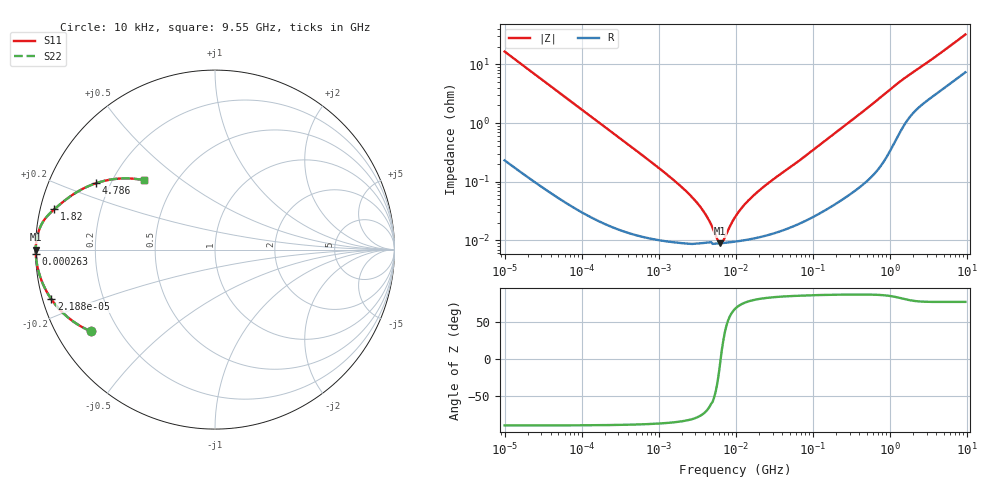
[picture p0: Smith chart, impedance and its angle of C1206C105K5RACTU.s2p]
! C1206C105K5RAC
! Temp = 25?C, Bias = 0VDC, Shunt
! KEMET S2P Model
# HZ S DB R 50
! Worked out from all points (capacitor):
!   300 points, 10 kHz to 9.55 GHz, reference 50 ohm
!   read as one part in shunt: C = 960 nF near 10.47 kHz
!   lowest |Z| = 8.96 mohm at 6.31 MHz (marker M1)
!   series resonance near 6.368 MHz, so ESL is about 650 pH
!   S11 on the Smith chart (normalised r, x): 10 kHz: 0.10, -0.30; 21.88 kHz: 0.02, -0.15; 263 kHz: 0.00, -0.01; 1.82 GHz: 0.04, +0.12; 4.786 GHz: 0.14, +0.25; 9.55 GHz: 0.33, +0.37
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10000  -1.63 -146.8  -5.23 -56.0  -5.23 -56.0  -1.63 -146.8
14454.39  -0.88 -155.5  -7.63 -64.7  -7.63 -64.7  -0.88 -155.5
21877.62  -0.42 -163.1  -10.73 -72.3  -10.73 -72.3  -0.42 -163.1
45708.81  -0.11 -171.6  -16.73 -80.7  -16.73 -80.7  -0.11 -171.6
100000  -0.03 -176.1  -23.36 -85.1  -23.36 -85.1  -0.03 -176.1
263026.8  -0.01 -178.5  -31.63 -87.1  -31.63 -87.1  -0.01 -178.5
1000000  -0.00 -179.6  -43.26 -86.2  -43.26 -86.2  -0.00 -179.6
1995263  -0.00 -179.8  -49.82 -83.4  -49.82 -83.4  -0.00 -179.8
3162278  -0.00 -179.9  -55.21 -78.1  -55.21 -78.1  -0.00 -179.9
4365157  -0.00 -180.0  -60.50 -67.0  -60.50 -67.0  -0.00 -180.0
5754402  -0.00 -180.0  -67.51 -32.8  -67.51 -32.8  -0.00 -180.0
6309576  -0.00 -180.0  -68.91 -3.3  -68.91 -3.3  -0.00 -180.0
6918312  -0.00 180.0  -67.90 26.0  -67.90 26.0  -0.00 180.0
1e7  -0.00 179.9  -59.65 68.4  -59.65 68.4  -0.00 179.9
1.318256e7  -0.00 179.9  -55.56 75.9  -55.56 75.9  -0.00 179.9
1.995263e7  -0.00 179.8  -51.04 80.6  -51.04 80.6  -0.00 179.8
1e8  -0.01 179.2  -37.21 85.1  -37.21 85.1  -0.01 179.2
3.981075e8  -0.04 176.8  -25.11 83.6  -25.11 83.6  -0.04 176.8
1e9  -0.20 171.7  -16.80 76.6  -16.80 76.6  -0.20 171.7
1.819702e9  -0.70 165.9  -12.09 65.0  -12.09 65.0  -0.70 165.9
4.786304e9  -2.38 151.0  -6.04 47.8  -6.04 47.8  -2.38 151.0
9.549916e9  -5.12 135.8  -2.90 32.7  -2.90 32.7  -5.12 135.8
